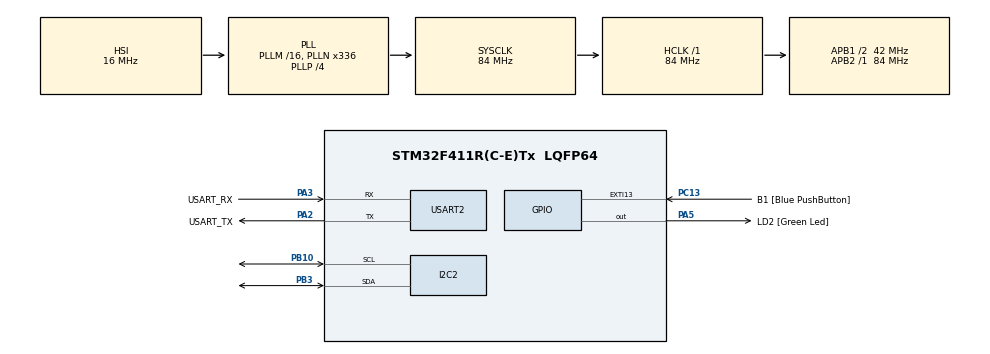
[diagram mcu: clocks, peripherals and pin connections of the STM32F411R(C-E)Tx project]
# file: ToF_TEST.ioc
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Mcu.Family=STM32F4
Mcu.Name=STM32F411R(C-E)Tx
Mcu.Package=LQFP64
NVIC.PriorityGroup=NVIC_PRIORITYGROUP_0
PA13.GPIO_Label=TMS
PA13.Mode=Serial_Wire
PA13.Signal=SYS_JTMS-SWDIO
PA14.GPIO_Label=TCK
PA14.Mode=Serial_Wire
PA14.Signal=SYS_JTCK-SWCLK
PA2.GPIO_Label=USART_TX
PA2.Mode=Asynchronous
PA2.Signal=USART2_TX
PA3.GPIO_Label=USART_RX
PA3.Mode=Asynchronous
PA3.Signal=USART2_RX
PA5.GPIO_Label=LD2 [Green Led]
PA5.Signal=GPIO_Output
PB10.Mode=I2C
PB10.Signal=I2C2_SCL
PB3.Mode=I2C
PB3.Signal=I2C2_SDA
PC13-ANTI_TAMP.GPIO_Label=B1 [Blue PushButton]
PC13-ANTI_TAMP.GPIO_ModeDefaultEXTI=GPIO_MODE_IT_FALLING
PC13-ANTI_TAMP.Signal=GPXTI13
PC14-OSC32_IN.Mode=LSE-External-Oscillator
PC14-OSC32_IN.Signal=RCC_OSC32_IN
PC15-OSC32_OUT.Mode=LSE-External-Oscillator
PC15-OSC32_OUT.Signal=RCC_OSC32_OUT
PH0\ -\ OSC_IN.Mode=HSE-External-Clock-Source
PH0\ -\ OSC_IN.Signal=RCC_OSC_IN
PH1\ -\ OSC_OUT.Mode=HSE-External-Clock-Source
PH1\ -\ OSC_OUT.Signal=RCC_OSC_OUT
ProjectManager.HeapSize=0x200
ProjectManager.StackSize=0x400
ProjectManager.TargetToolchain=STM32CubeIDE
RCC.48MHZClocksFreq_Value=84000000
RCC.AHBFreq_Value=84000000
RCC.APB1CLKDivider=RCC_HCLK_DIV2
RCC.APB1Freq_Value=42000000
RCC.APB1TimFreq_Value=84000000
RCC.APB2Freq_Value=84000000
RCC.APB2TimFreq_Value=84000000
RCC.CortexFreq_Value=84000000
RCC.FLatency-AdvancedSettings=FLASH_LATENCY_2
RCC.HCLKFreq_Value=84000000
RCC.HSE_VALUE=8000000
RCC.HSI_VALUE=16000000
RCC.PLLN=336
RCC.PLLP=RCC_PLLP_DIV4
RCC.SYSCLKFreq_VALUE=84000000
RCC.SYSCLKSource=RCC_SYSCLKSOURCE_PLLCLK
RCC.VCOOutputFreq_Value=336000000
USART2.VirtualMode=VM_ASYNC
board=NUCLEO-F411RE

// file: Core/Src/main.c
/* USER CODE BEGIN Header */
/**
  ******************************************************************************
  * @file           : main.c
  * @brief          : Main program body
  ******************************************************************************
  * @attention
  *
  * Copyright (c) 2025 STMicroelectronics.
  * All rights reserved.
  *
  * This software is licensed under terms that can be found in the LICENSE file
  * in the root directory of this software component.
  * If no LICENSE file comes with this software, it is provided AS-IS.
  *
  ******************************************************************************
  */
/* USER CODE END Header */
#include "main.h"

/* USER CODE BEGIN Includes */
#include <stdio.h>
#include <string.h>
/* USER CODE END Includes */

I2C_HandleTypeDef hi2c2;

UART_HandleTypeDef huart2;

/* USER CODE BEGIN PV */
static uint8_t g_tof_addr7 = 0x52;  // 기본 후보 (안되면 자동픽으로 바뀜)
#define REG_DATA  (0x00)            // 데이터 시작 레지스터(TOF10120 가정)
/* USER CODE END PV */

void SystemClock_Config(void);
static void MX_GPIO_Init(void);
static void MX_USART2_UART_Init(void);
static void MX_I2C2_Init(void);

/* USER CODE BEGIN 0 */
int __io_putchar(int ch) {
  extern UART_HandleTypeDef huart2;
  HAL_UART_Transmit(&huart2, (uint8_t *)&ch, 1, HAL_MAX_DELAY);
  return ch;
}

// I2C2 스캔
static void i2c2_scan(void)
{
  extern I2C_HandleTypeDef hi2c2;
  printf("I2C2 scan...\r\n");
  for (uint8_t a = 1; a < 127; a++) {
    if (HAL_I2C_IsDeviceReady(&hi2c2, (a << 1), 5, 100) == HAL_OK) {
      printf("  - Found at 0x%02X\r\n", a);
    }
  }
  printf("Scan done.\r\n");
}

// 준비 상태/에러 코드 로깅
static void i2c2_debug_check(const char* tag)
{
  extern I2C_HandleTypeDef hi2c2;
  HAL_StatusTypeDef st = HAL_I2C_IsDeviceReady(&hi2c2, (g_tof_addr7 << 1), 5, 100);
  if (st == HAL_OK) {
    printf("[%s] Ready OK @0x%02X\r\n", tag, g_tof_addr7);
  } else {
    uint32_t err = HAL_I2C_GetError(&hi2c2);
    printf("[%s] Ready FAIL @0x%02X, err=0x%08lX\r\n", tag, g_tof_addr7, err);
  }
}

// 버스 stuck 해제(9클록) + I2C2 재초기화 (PB10=SCL, PB9=SDA)
static void i2c2_bus_recover_and_reinit(void)
{
  extern I2C_HandleTypeDef hi2c2;
  HAL_I2C_DeInit(&hi2c2);
  __HAL_RCC_GPIOB_CLK_ENABLE();

  GPIO_InitTypeDef G = {0};
  // SDA = PB3 입력(PU)
  G.Pin = GPIO_PIN_3;
  G.Mode = GPIO_MODE_INPUT;
  G.Pull = GPIO_PULLUP;
  HAL_GPIO_Init(GPIOB, &G);

  // SCL = PB10 출력 OD(PU)
  G.Pin = GPIO_PIN_10;
  G.Mode = GPIO_MODE_OUTPUT_OD;
  G.Pull = GPIO_PULLUP;
  G.Speed = GPIO_SPEED_FREQ_HIGH;
  HAL_GPIO_Init(GPIOB, &G);

  for (int i = 0; i < 9; i++) {
    HAL_GPIO_WritePin(GPIOB, GPIO_PIN_10, GPIO_PIN_SET); HAL_Delay(1);
    HAL_GPIO_WritePin(GPIOB, GPIO_PIN_10, GPIO_PIN_RESET); HAL_Delay(1);
  }
  HAL_GPIO_WritePin(GPIOB, GPIO_PIN_10, GPIO_PIN_SET);
  HAL_Delay(2);

  MX_I2C2_Init();
}

// 주소 자동 선택(0x52/0x57/0x29 시도)
static void pick_tof_address(void)
{
  extern I2C_HandleTypeDef hi2c2;
  const uint8_t cand[] = {0x52, 0x57, 0x29};
  for (size_t i = 0; i < sizeof(cand); ++i) {
    if (HAL_I2C_IsDeviceReady(&hi2c2, (cand[i] << 1), 5, 100) == HAL_OK) {
      g_tof_addr7 = cand[i];
      printf("Picked TOF addr: 0x%02X\r\n", g_tof_addr7);
      return;
    }
  }
  printf("No candidate responded. Keep 0x%02X\r\n", g_tof_addr7);
}

// Mem_Read 방식
static int readDistanceMM_HAL_mem(void)
{
  extern I2C_HandleTypeDef hi2c2;
  uint8_t buf[2] = {0};
  HAL_StatusTypeDef st = HAL_I2C_Mem_Read(&hi2c2,
                       (g_tof_addr7 << 1),
                       REG_DATA,
                       I2C_MEMADD_SIZE_8BIT,
                       buf, 2, 500);
  if (st != HAL_OK) {
    uint32_t err = HAL_I2C_GetError(&hi2c2);
    printf("Mem_Read FAIL @0x%02X, err=0x%08lX\r\n", g_tof_addr7, err);
    return -1;
  }
  return ((int)buf[0] << 8) | buf[1];
}
/* USER CODE END 0 */

int main(void)
{

  /* MCU Configuration--------------------------------------------------------*/

  /* Reset of all peripherals, Initializes the Flash interface and the Systick. */
  HAL_Init();

  /* Configure the system clock */
  SystemClock_Config();

  /* Initialize all configured peripherals */
  MX_GPIO_Init();
  MX_USART2_UART_Init();
  MX_I2C2_Init();
  /* USER CODE BEGIN 2 */
  printf("\r\nTOF I2C2 test start (PB10=SCL, PB9=SDA)\r\n");
  HAL_Delay(200);
  i2c2_bus_recover_and_reinit();
  i2c2_scan();
  pick_tof_address();
  i2c2_debug_check("after_init");
  /* USER CODE END 2 */

  /* Infinite loop */
  while (1)
  {

    /* USER CODE BEGIN 3 */
	  int d = readDistanceMM_HAL_mem();
	  if (d >= 0) printf("Distance: %d mm\r\n", d);
	  else        printf("Read fail (mem_read)\r\n");
	  HAL_Delay(100);
  }
  /* USER CODE END 3 */
}

void SystemClock_Config(void)
{
  RCC_OscInitTypeDef RCC_OscInitStruct = {0};
  RCC_ClkInitTypeDef RCC_ClkInitStruct = {0};

  /** Configure the main internal regulator output voltage
  */
  __HAL_RCC_PWR_CLK_ENABLE();
  __HAL_PWR_VOLTAGESCALING_CONFIG(PWR_REGULATOR_VOLTAGE_SCALE1);

  /** Initializes the RCC Oscillators according to the specified parameters
  * in the RCC_OscInitTypeDef structure.
  */
  RCC_OscInitStruct.OscillatorType = RCC_OSCILLATORTYPE_HSI;
  RCC_OscInitStruct.HSIState = RCC_HSI_ON;
  RCC_OscInitStruct.HSICalibrationValue = RCC_HSICALIBRATION_DEFAULT;
  RCC_OscInitStruct.PLL.PLLState = RCC_PLL_ON;
  RCC_OscInitStruct.PLL.PLLSource = RCC_PLLSOURCE_HSI;
  RCC_OscInitStruct.PLL.PLLM = 16;
  RCC_OscInitStruct.PLL.PLLN = 336;
  RCC_OscInitStruct.PLL.PLLP = RCC_PLLP_DIV4;
  RCC_OscInitStruct.PLL.PLLQ = 4;
  if (HAL_RCC_OscConfig(&RCC_OscInitStruct) != HAL_OK)
  {
    Error_Handler();
  }

  /** Initializes the CPU, AHB and APB buses clocks
  */
  RCC_ClkInitStruct.ClockType = RCC_CLOCKTYPE_HCLK|RCC_CLOCKTYPE_SYSCLK
                              |RCC_CLOCKTYPE_PCLK1|RCC_CLOCKTYPE_PCLK2;
  RCC_ClkInitStruct.SYSCLKSource = RCC_SYSCLKSOURCE_PLLCLK;
  RCC_ClkInitStruct.AHBCLKDivider = RCC_SYSCLK_DIV1;
  RCC_ClkInitStruct.APB1CLKDivider = RCC_HCLK_DIV2;
  RCC_ClkInitStruct.APB2CLKDivider = RCC_HCLK_DIV1;

  if (HAL_RCC_ClockConfig(&RCC_ClkInitStruct, FLASH_LATENCY_2) != HAL_OK)
  {
    Error_Handler();
  }
}

static void MX_I2C2_Init(void)
{

  hi2c2.Instance = I2C2;
  hi2c2.Init.ClockSpeed = 100000;
  hi2c2.Init.DutyCycle = I2C_DUTYCYCLE_2;
  hi2c2.Init.OwnAddress1 = 0;
  hi2c2.Init.AddressingMode = I2C_ADDRESSINGMODE_7BIT;
  hi2c2.Init.DualAddressMode = I2C_DUALADDRESS_DISABLE;
  hi2c2.Init.OwnAddress2 = 0;
  hi2c2.Init.GeneralCallMode = I2C_GENERALCALL_DISABLE;
  hi2c2.Init.NoStretchMode = I2C_NOSTRETCH_DISABLE;
  if (HAL_I2C_Init(&hi2c2) != HAL_OK)
  {
    Error_Handler();
  }

}

static void MX_USART2_UART_Init(void)
{

  huart2.Instance = USART2;
  huart2.Init.BaudRate = 115200;
  huart2.Init.WordLength = UART_WORDLENGTH_8B;
  huart2.Init.StopBits = UART_STOPBITS_1;
  huart2.Init.Parity = UART_PARITY_NONE;
  huart2.Init.Mode = UART_MODE_TX_RX;
  huart2.Init.HwFlowCtl = UART_HWCONTROL_NONE;
  huart2.Init.OverSampling = UART_OVERSAMPLING_16;
  if (HAL_UART_Init(&huart2) != HAL_OK)
  {
    Error_Handler();
  }

}

static void MX_GPIO_Init(void)
{
  GPIO_InitTypeDef GPIO_InitStruct = {0};

  /* GPIO Ports Clock Enable */
  __HAL_RCC_GPIOC_CLK_ENABLE();
  __HAL_RCC_GPIOH_CLK_ENABLE();
  __HAL_RCC_GPIOA_CLK_ENABLE();
  __HAL_RCC_GPIOB_CLK_ENABLE();

  /*Configure GPIO pin Output Level */
  HAL_GPIO_WritePin(LD2_GPIO_Port, LD2_Pin, GPIO_PIN_RESET);

  /*Configure GPIO pin : B1_Pin */
  GPIO_InitStruct.Pin = B1_Pin;
  GPIO_InitStruct.Mode = GPIO_MODE_IT_FALLING;
  GPIO_InitStruct.Pull = GPIO_NOPULL;
  HAL_GPIO_Init(B1_GPIO_Port, &GPIO_InitStruct);

  /*Configure GPIO pin : LD2_Pin */
  GPIO_InitStruct.Pin = LD2_Pin;
  GPIO_InitStruct.Mode = GPIO_MODE_OUTPUT_PP;
  GPIO_InitStruct.Pull = GPIO_NOPULL;
  GPIO_InitStruct.Speed = GPIO_SPEED_FREQ_LOW;
  HAL_GPIO_Init(LD2_GPIO_Port, &GPIO_InitStruct);

}

void Error_Handler(void)
{
  __disable_irq();
  while (1)
  {
  }
}
